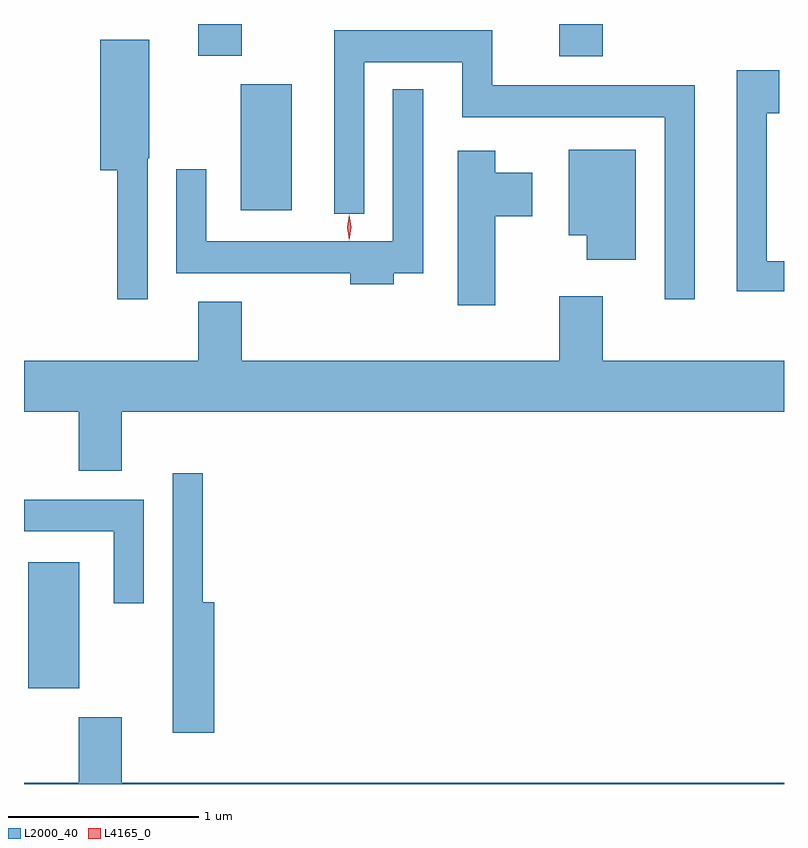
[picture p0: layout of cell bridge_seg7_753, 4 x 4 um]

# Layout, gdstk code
import gdstk
lib = gdstk.Library(unit=1e-6, precision=1e-09)
def R(c, l, rs):  # rectangles x0, y0, x1, y1
    for r in rs: c.add(gdstk.rectangle(r[:2], r[2:], *l))
def P(c, l, *ps):  # polygons
    for p in ps: c.add(gdstk.Polygon(p, *l))
L2000_40 = (2000, 40)
L4165_0 = (4165, 0)

bridge_seg7_753 = lib.new_cell('bridge_seg7_753')
R(bridge_seg7_753, L2000_40, [(503.116,1737.281,503.384,1737.944), (504.236,1739.796,504.504,1740.459), (505.911,1740.606,506.139,1740.777), (504.011,1740.611,504.239,1740.777)])
P(bridge_seg7_753, L2000_40, [(506.624,1740.454),(505.559,1740.454),(505.559,1740.744),(504.726,1740.744),(504.726,1739.778),(504.884,1739.778),(504.884,1740.576),(505.401,1740.576),(505.401,1740.286),(506.466,1740.286),(506.466,1739.328),(506.624,1739.328)],
  [(503.744,1740.07),(503.754,1740.07),(503.754,1740.694),(503.496,1740.694),(503.496,1740.006),(503.586,1740.006),(503.586,1739.328),(503.744,1739.328)],
  [(507.094,1739.529),(507.004,1739.529),(507.004,1740.306),(507.069,1740.306),(507.069,1740.534),(506.846,1740.534),(506.846,1739.371),(507.094,1739.371)],
  [(505.039,1739.466),(505.194,1739.466),(505.194,1740.433),(505.036,1740.433),(505.036,1739.634),(504.054,1739.634),(504.054,1740.013),(503.896,1740.013),(503.896,1739.466),(504.811,1739.466),(504.811,1739.406),(505.039,1739.406)],
  [(506.314,1740.114),(505.961,1740.114),(505.961,1739.666),(506.056,1739.666),(506.056,1739.536),(506.314,1739.536)],
  [(505.574,1739.766),(505.769,1739.766),(505.769,1739.994),(505.574,1739.994),(505.574,1740.109),(505.376,1740.109),(505.376,1739.296),(505.574,1739.296)],
  [(503.609,1738.736),(507.094,1738.736),(507.094,1739.004),(506.139,1739.004),(506.139,1739.344),(505.911,1739.344),(505.911,1739.004),(504.239,1739.004),(504.239,1739.314),(504.011,1739.314),(504.011,1739.004),(503.094,1739.004),(503.094,1738.736),(503.381,1738.736),(503.381,1738.426),(503.609,1738.426)],
  [(504.094,1737.734),(504.034,1737.734),(504.034,1738.413),(503.876,1738.413),(503.876,1737.046),(504.094,1737.046)],
  [(503.724,1738.274),(503.094,1738.274),(503.094,1738.106),(503.566,1738.106),(503.566,1737.728),(503.724,1737.728)],
  [(507.094,1736.784),(503.609,1736.784),(503.609,1737.129),(503.381,1737.129),(503.381,1736.784),(503.094,1736.784),(503.094,1736.777),(507.094,1736.777)])
P(bridge_seg7_753, L4165_0, [(504.806,1739.639),(504.806,1739.64),(504.796,1739.706),(504.805,1739.772),(504.806,1739.773),(504.806,1739.772),(504.816,1739.706),(504.807,1739.64)])

lib.write_gds('bridge_seg7_753.gds')
